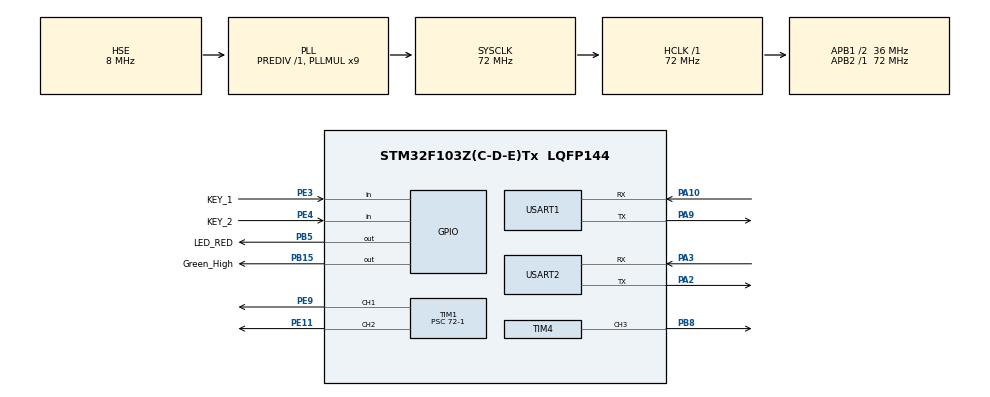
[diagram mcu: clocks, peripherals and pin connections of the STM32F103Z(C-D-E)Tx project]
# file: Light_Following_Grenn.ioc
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Mcu.Family=STM32F1
Mcu.Name=STM32F103Z(C-D-E)Tx
Mcu.Package=LQFP144
NVIC.PriorityGroup=NVIC_PRIORITYGROUP_2
NVIC.TIM7_IRQn=true\:2\:0\:true\:false\:true\:true\:true\:true
NVIC.USART1_IRQn=true\:2\:2\:true\:false\:true\:true\:true\:true
NVIC.USART2_IRQn=true\:0\:2\:false\:false\:true\:true\:true\:true
OSC_IN.Mode=HSE-External-Oscillator
OSC_IN.Signal=RCC_OSC_IN
OSC_OUT.Mode=HSE-External-Oscillator
OSC_OUT.Signal=RCC_OSC_OUT
PA10.Mode=Asynchronous
PA10.Signal=USART1_RX
PA13.Mode=Serial_Wire
PA13.Signal=SYS_JTMS-SWDIO
PA14.Mode=Serial_Wire
PA14.Signal=SYS_JTCK-SWCLK
PA2.Mode=Asynchronous
PA2.Signal=USART2_TX
PA3.Mode=Asynchronous
PA3.Signal=USART2_RX
PA9.Mode=Asynchronous
PA9.Signal=USART1_TX
PB15.GPIO_Label=Green_High
PB15.GPIO_Speed=GPIO_SPEED_FREQ_LOW
PB15.PinState=GPIO_PIN_SET
PB15.Signal=GPIO_Output
PB5.GPIO_Label=LED_RED
PB5.PinState=GPIO_PIN_SET
PB5.Signal=GPIO_Output
PB8.Signal=S_TIM4_CH3
PE11.Signal=S_TIM1_CH2
PE3.GPIO_Label=KEY_1
PE3.GPIO_PuPd=GPIO_PULLUP
PE3.Signal=GPIO_Input
PE4.GPIO_Label=KEY_2
PE4.GPIO_PuPd=GPIO_PULLUP
PE4.Signal=GPIO_Input
PE9.Signal=S_TIM1_CH1
ProjectManager.HeapSize=0x200
ProjectManager.StackSize=0x400
ProjectManager.TargetToolchain=MDK-ARM V5.32
RCC.AHBFreq_Value=72000000
RCC.APB1CLKDivider=RCC_HCLK_DIV2
RCC.APB1Freq_Value=36000000
RCC.APB1TimFreq_Value=72000000
RCC.APB2Freq_Value=72000000
RCC.APB2TimFreq_Value=72000000
RCC.HCLKFreq_Value=72000000
RCC.PLLMUL=RCC_PLL_MUL9
RCC.PLLSourceVirtual=RCC_PLLSOURCE_HSE
RCC.SYSCLKFreq_VALUE=72000000
RCC.SYSCLKSource=RCC_SYSCLKSOURCE_PLLCLK
RCC.USBFreq_Value=72000000
SH.S_TIM1_CH1.0=TIM1_CH1,PWM Generation1 CH1
SH.S_TIM1_CH2.0=TIM1_CH2,PWM Generation2 CH2
SH.S_TIM4_CH3.0=TIM4_CH3,PWM Generation3 CH3
TIM1.AutoReloadPreload=TIM_AUTORELOAD_PRELOAD_ENABLE
TIM1.Channel-PWM\ Generation1\ CH1=TIM_CHANNEL_1
TIM1.Channel-PWM\ Generation2\ CH2=TIM_CHANNEL_2
TIM1.Period=20000
TIM1.Prescaler=72-1
TIM1.Pulse-PWM\ Generation1\ CH1=1500
TIM1.Pulse-PWM\ Generation2\ CH2=1500
TIM4.AutoReloadPreload=TIM_AUTORELOAD_PRELOAD_ENABLE
TIM4.Channel-PWM\ Generation3\ CH3=TIM_CHANNEL_3
TIM4.Period=1000-1
TIM4.Prescaler=72-1
TIM4.Pulse-PWM\ Generation3\ CH3=500
TIM7.Period=200-1
TIM7.Prescaler=7200-1
USART1.VirtualMode=VM_ASYNC
USART2.VirtualMode=VM_ASYNC
VP_TIM7_VS_ClockSourceINT.Mode=Enable_Timer
board=custom

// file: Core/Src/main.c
/* USER CODE BEGIN Header */
/**
  ******************************************************************************
  * @file           : main.c
  * @brief          : Main program body
  ******************************************************************************
  * @attention
  *
  * Copyright (c) 2023 STMicroelectronics.
  * All rights reserved.
  *
  * This software is licensed under terms that can be found in the LICENSE file
  * in the root directory of this software component.
  * If no LICENSE file comes with this software, it is provided AS-IS.
  *
  ******************************************************************************
  */
/* USER CODE END Header */
#include "main.h"
#include "tim.h"
#include "usart.h"
#include "gpio.h"

/* USER CODE BEGIN Includes */
#include "pid.h"
#include "control.h"
#include "openmv.h"
/* USER CODE END Includes */

void SystemClock_Config(void);

/* USER CODE BEGIN 0 */
uint8_t uart1_rxbuff = 0;
uint8_t uart2_rxbuff = 0;

/* USER CODE END 0 */

int main(void)
{

  /* MCU Configuration--------------------------------------------------------*/

  /* Reset of all peripherals, Initializes the Flash interface and the Systick. */
  HAL_Init();

  /* Configure the system clock */
  SystemClock_Config();

  /* Initialize all configured peripherals */
  MX_GPIO_Init();
  MX_TIM1_Init();
  MX_TIM4_Init();
  MX_USART1_UART_Init();
  MX_USART2_UART_Init();
  MX_TIM7_Init();
  /* USER CODE BEGIN 2 */

	HAL_TIM_PWM_Start(&htim1,TIM_CHANNEL_1);
	HAL_TIM_PWM_Start(&htim1,TIM_CHANNEL_2);

	HAL_UART_Receive_IT(&huart2,(void *)&uart2_rxbuff,1);

	HAL_TIM_Base_Start_IT(&htim7);
	PID_param_init();

	int count = 0;
  /* USER CODE END 2 */

  /* Infinite loop */
  while (1)
  {

    /* USER CODE BEGIN 3 */
//		SET_UP_PWM(2000);
//		SET_DOWN_PWM(1500);

//		if(count < 1000) count++;
//		else
//		{
//			count = 0;
//			printf("1");
//		}
		if(HAL_GPIO_ReadPin(GPIOE, GPIO_PIN_3) == RESET) stop = 1;
		if(HAL_GPIO_ReadPin(GPIOE, GPIO_PIN_4) == RESET) stop = 0;
  }
  /* USER CODE END 3 */
}

void SystemClock_Config(void)
{
  RCC_OscInitTypeDef RCC_OscInitStruct = {0};
  RCC_ClkInitTypeDef RCC_ClkInitStruct = {0};

  /** Initializes the RCC Oscillators according to the specified parameters
  * in the RCC_OscInitTypeDef structure.
  */
  RCC_OscInitStruct.OscillatorType = RCC_OSCILLATORTYPE_HSE;
  RCC_OscInitStruct.HSEState = RCC_HSE_ON;
  RCC_OscInitStruct.HSEPredivValue = RCC_HSE_PREDIV_DIV1;
  RCC_OscInitStruct.HSIState = RCC_HSI_ON;
  RCC_OscInitStruct.PLL.PLLState = RCC_PLL_ON;
  RCC_OscInitStruct.PLL.PLLSource = RCC_PLLSOURCE_HSE;
  RCC_OscInitStruct.PLL.PLLMUL = RCC_PLL_MUL9;
  if (HAL_RCC_OscConfig(&RCC_OscInitStruct) != HAL_OK)
  {
    Error_Handler();
  }

  /** Initializes the CPU, AHB and APB buses clocks
  */
  RCC_ClkInitStruct.ClockType = RCC_CLOCKTYPE_HCLK|RCC_CLOCKTYPE_SYSCLK
                              |RCC_CLOCKTYPE_PCLK1|RCC_CLOCKTYPE_PCLK2;
  RCC_ClkInitStruct.SYSCLKSource = RCC_SYSCLKSOURCE_PLLCLK;
  RCC_ClkInitStruct.AHBCLKDivider = RCC_SYSCLK_DIV1;
  RCC_ClkInitStruct.APB1CLKDivider = RCC_HCLK_DIV2;
  RCC_ClkInitStruct.APB2CLKDivider = RCC_HCLK_DIV1;

  if (HAL_RCC_ClockConfig(&RCC_ClkInitStruct, FLASH_LATENCY_2) != HAL_OK)
  {
    Error_Handler();
  }
}

/* USER CODE BEGIN 4 */
void HAL_UART_RxCpltCallback(UART_HandleTypeDef *huart)
{
		if(huart->Instance==USART1)
  {
//		Debug_Rec(uart1_rxbuff- '0');
		HAL_UART_Receive_IT(&huart1,(void *)&uart1_rxbuff,1);
  }

	if(huart->Instance==USART2)
  {
		Openmv_Receive_Data(uart2_rxbuff);
		HAL_UART_Receive_IT(&huart2,(void *)&uart2_rxbuff,1);
  }
}
/* USER CODE END 4 */

void Error_Handler(void)
{
  __disable_irq();
  while (1)
  {
  }
}
